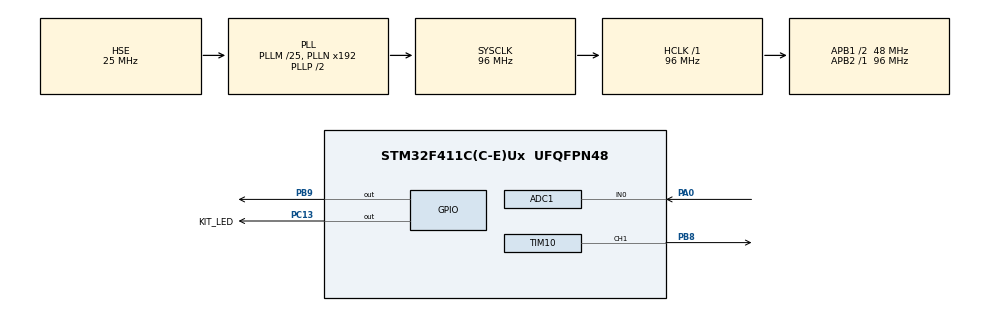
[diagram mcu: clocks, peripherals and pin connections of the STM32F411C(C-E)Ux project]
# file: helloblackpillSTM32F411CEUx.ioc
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ADC1.Channel-1\#ChannelRegularConversion=ADC_CHANNEL_0
ADC1.NbrOfConversionFlag=1
ADC1.Rank-1\#ChannelRegularConversion=1
ADC1.SamplingTime-1\#ChannelRegularConversion=ADC_SAMPLETIME_3CYCLES
ADC1.master=1
Mcu.Family=STM32F4
Mcu.Name=STM32F411C(C-E)Ux
Mcu.Package=UFQFPN48
NVIC.PriorityGroup=NVIC_PRIORITYGROUP_4
PA0-WKUP.Signal=ADCx_IN0
PA13.Mode=Serial_Wire
PA13.Signal=SYS_JTMS-SWDIO
PA14.Mode=Serial_Wire
PA14.Signal=SYS_JTCK-SWCLK
PB8.Signal=S_TIM10_CH1
PB9.Signal=GPIO_Output
PC13-ANTI_TAMP.GPIO_Label=KIT_LED
PC13-ANTI_TAMP.Signal=GPIO_Output
PC14-OSC32_IN.Mode=LSE-External-Oscillator
PC14-OSC32_IN.Signal=RCC_OSC32_IN
PC15-OSC32_OUT.Mode=LSE-External-Oscillator
PC15-OSC32_OUT.Signal=RCC_OSC32_OUT
PH0\ -\ OSC_IN.Mode=HSE-External-Oscillator
PH0\ -\ OSC_IN.Signal=RCC_OSC_IN
PH1\ -\ OSC_OUT.Mode=HSE-External-Oscillator
PH1\ -\ OSC_OUT.Signal=RCC_OSC_OUT
ProjectManager.HeapSize=0x200
ProjectManager.StackSize=0x400
ProjectManager.TargetToolchain=Makefile
RCC.48MHZClocksFreq_Value=48000000
RCC.AHBFreq_Value=96000000
RCC.APB1CLKDivider=RCC_HCLK_DIV2
RCC.APB1Freq_Value=48000000
RCC.APB1TimFreq_Value=96000000
RCC.APB2Freq_Value=96000000
RCC.APB2TimFreq_Value=96000000
RCC.CortexFreq_Value=96000000
RCC.HCLKFreq_Value=96000000
RCC.HSE_VALUE=25000000
RCC.HSI_VALUE=16000000
RCC.PLLM=25
RCC.PLLSourceVirtual=RCC_PLLSOURCE_HSE
RCC.SYSCLKFreq_VALUE=96000000
RCC.SYSCLKSource=RCC_SYSCLKSOURCE_PLLCLK
RCC.VCOOutputFreq_Value=192000000
SH.ADCx_IN0.0=ADC1_IN0,IN0
SH.S_TIM10_CH1.0=TIM10_CH1,PWM Generation1 CH1
TIM10.Channel=TIM_CHANNEL_1
TIM10.Period=4800-1
TIM3.Period=1000
TIM3.Prescaler=96-1
TIM3.TIM_MasterOutputTrigger=TIM_TRGO_UPDATE
TIM3.TIM_MasterSlaveMode=TIM_MASTERSLAVEMODE_DISABLE
VP_TIM10_VS_ClockSourceINT.Mode=Enable_Timer
VP_TIM3_VS_ClockSourceINT.Mode=Internal
board=custom

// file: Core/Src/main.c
/* USER CODE BEGIN Header */
/**
  ******************************************************************************
  * @file           : main.c
  * @brief          : Main program body
  ******************************************************************************
  * @attention
  *
  * Copyright (c) 2022 STMicroelectronics.
  * All rights reserved.
  *
  * This software is licensed under terms that can be found in the LICENSE file
  * in the root directory of this software component.
  * If no LICENSE file comes with this software, it is provided AS-IS.
  *
  ******************************************************************************
  */
/* USER CODE END Header */
#include "main.h"

ADC_HandleTypeDef hadc1;

TIM_HandleTypeDef htim3;
TIM_HandleTypeDef htim10;

/* USER CODE BEGIN PV */
volatile gi=0;
float gSetPoint = 2.0;
float gSaw[1000];
float gSin[1000];
float gStep[1000];
#define LABSC_ABS(x) x>0?x:-1*x

/* USER CODE END PV */

void SystemClock_Config(void);
static void MX_GPIO_Init(void);
static void MX_ADC1_Init(void);
static void MX_TIM10_Init(void);
static void MX_TIM3_Init(void);

int main(void)
{
  /* USER CODE BEGIN 1 */
  uint32_t i;
  /* USER CODE END 1 */

  /* MCU Configuration--------------------------------------------------------*/

  /* Reset of all peripherals, Initializes the Flash interface and the Systick. */
  HAL_Init();

  /* Configure the system clock */
  SystemClock_Config();

  /* Initialize all configured peripherals */
  MX_GPIO_Init();
  MX_ADC1_Init();
  MX_TIM10_Init();
  MX_TIM3_Init();
  /* USER CODE BEGIN 2 */
  HAL_ADC_Start_IT(&hadc1);
  HAL_TIM_Base_Start(&htim3);
  //HAL_TIM_PWM_Start(&htim3,TIM_CHANNEL_1);
  HAL_TIM_PWM_Start(&htim10,TIM_CHANNEL_1);
float pi = 3.141592653589793;
for(i=0;i<1000;i++)
{
  gSaw[i] = 3.3*((float)i/1000);
  gSin[i] = LABSC_ABS(3.3*(sin(2*pi*i/1000)));
  gStep[i] = ((i/100)%2)?4.0:1.0;
}

  /* USER CODE END 2 */

  /* Infinite loop */
  /* USER CODE BEGIN WHILE */
  htim10.Instance->CCR1 = (int32_t)(htim10.Instance->ARR * (0.2));
  while (1)
  {

    for (i = 0; i < 13; i++)
    {
      HAL_GPIO_WritePin(KIT_LED_GPIO_Port, KIT_LED_Pin, 0);
      HAL_Delay(25);
      HAL_GPIO_WritePin(KIT_LED_GPIO_Port, KIT_LED_Pin, 1);
      HAL_Delay(50);
    }
    HAL_Delay(800);

    /* USER CODE END WHILE */

  }
}

void SystemClock_Config(void)
{
  RCC_OscInitTypeDef RCC_OscInitStruct = {0};
  RCC_ClkInitTypeDef RCC_ClkInitStruct = {0};

  /** Configure the main internal regulator output voltage
  */
  __HAL_RCC_PWR_CLK_ENABLE();
  __HAL_PWR_VOLTAGESCALING_CONFIG(PWR_REGULATOR_VOLTAGE_SCALE1);

  /** Initializes the RCC Oscillators according to the specified parameters
  * in the RCC_OscInitTypeDef structure.
  */
  RCC_OscInitStruct.OscillatorType = RCC_OSCILLATORTYPE_HSE;
  RCC_OscInitStruct.HSEState = RCC_HSE_ON;
  RCC_OscInitStruct.PLL.PLLState = RCC_PLL_ON;
  RCC_OscInitStruct.PLL.PLLSource = RCC_PLLSOURCE_HSE;
  RCC_OscInitStruct.PLL.PLLM = 25;
  RCC_OscInitStruct.PLL.PLLN = 192;
  RCC_OscInitStruct.PLL.PLLP = RCC_PLLP_DIV2;
  RCC_OscInitStruct.PLL.PLLQ = 4;
  if (HAL_RCC_OscConfig(&RCC_OscInitStruct) != HAL_OK)
  {
    Error_Handler();
  }

  /** Initializes the CPU, AHB and APB buses clocks
  */
  RCC_ClkInitStruct.ClockType = RCC_CLOCKTYPE_HCLK|RCC_CLOCKTYPE_SYSCLK
                              |RCC_CLOCKTYPE_PCLK1|RCC_CLOCKTYPE_PCLK2;
  RCC_ClkInitStruct.SYSCLKSource = RCC_SYSCLKSOURCE_PLLCLK;
  RCC_ClkInitStruct.AHBCLKDivider = RCC_SYSCLK_DIV1;
  RCC_ClkInitStruct.APB1CLKDivider = RCC_HCLK_DIV2;
  RCC_ClkInitStruct.APB2CLKDivider = RCC_HCLK_DIV1;

  if (HAL_RCC_ClockConfig(&RCC_ClkInitStruct, FLASH_LATENCY_3) != HAL_OK)
  {
    Error_Handler();
  }
}

static void MX_ADC1_Init(void)
{

  ADC_ChannelConfTypeDef sConfig = {0};

  /** Configure the global features of the ADC (Clock, Resolution, Data Alignment and number of conversion)
  */
  hadc1.Instance = ADC1;
  hadc1.Init.ClockPrescaler = ADC_CLOCK_SYNC_PCLK_DIV4;
  hadc1.Init.Resolution = ADC_RESOLUTION_12B;
  hadc1.Init.ScanConvMode = DISABLE;
  hadc1.Init.ContinuousConvMode = DISABLE;
  hadc1.Init.DiscontinuousConvMode = DISABLE;
  hadc1.Init.ExternalTrigConvEdge = ADC_EXTERNALTRIGCONVEDGE_RISING;
  hadc1.Init.ExternalTrigConv = ADC_EXTERNALTRIGCONV_T3_TRGO;
  hadc1.Init.DataAlign = ADC_DATAALIGN_RIGHT;
  hadc1.Init.NbrOfConversion = 1;
  hadc1.Init.DMAContinuousRequests = DISABLE;
  hadc1.Init.EOCSelection = ADC_EOC_SINGLE_CONV;
  if (HAL_ADC_Init(&hadc1) != HAL_OK)
  {
    Error_Handler();
  }

  /** Configure for the selected ADC regular channel its corresponding rank in the sequencer and its sample time.
  */
  sConfig.Channel = ADC_CHANNEL_0;
  sConfig.Rank = 1;
  sConfig.SamplingTime = ADC_SAMPLETIME_3CYCLES;
  if (HAL_ADC_ConfigChannel(&hadc1, &sConfig) != HAL_OK)
  {
    Error_Handler();
  }

}

static void MX_TIM3_Init(void)
{

  TIM_ClockConfigTypeDef sClockSourceConfig = {0};
  TIM_MasterConfigTypeDef sMasterConfig = {0};

  htim3.Instance = TIM3;
  htim3.Init.Prescaler = 96-1;
  htim3.Init.CounterMode = TIM_COUNTERMODE_UP;
  htim3.Init.Period = 100;
  htim3.Init.ClockDivision = TIM_CLOCKDIVISION_DIV1;
  htim3.Init.AutoReloadPreload = TIM_AUTORELOAD_PRELOAD_DISABLE;
  if (HAL_TIM_Base_Init(&htim3) != HAL_OK)
  {
    Error_Handler();
  }
  sClockSourceConfig.ClockSource = TIM_CLOCKSOURCE_INTERNAL;
  if (HAL_TIM_ConfigClockSource(&htim3, &sClockSourceConfig) != HAL_OK)
  {
    Error_Handler();
  }
  sMasterConfig.MasterOutputTrigger = TIM_TRGO_UPDATE;
  sMasterConfig.MasterSlaveMode = TIM_MASTERSLAVEMODE_DISABLE;
  if (HAL_TIMEx_MasterConfigSynchronization(&htim3, &sMasterConfig) != HAL_OK)
  {
    Error_Handler();
  }

}

static void MX_TIM10_Init(void)
{

  TIM_OC_InitTypeDef sConfigOC = {0};

  htim10.Instance = TIM10;
  htim10.Init.Prescaler = 0;
  htim10.Init.CounterMode = TIM_COUNTERMODE_UP;
  htim10.Init.Period = 4800-1;
  htim10.Init.ClockDivision = TIM_CLOCKDIVISION_DIV1;
  htim10.Init.AutoReloadPreload = TIM_AUTORELOAD_PRELOAD_DISABLE;
  if (HAL_TIM_Base_Init(&htim10) != HAL_OK)
  {
    Error_Handler();
  }
  if (HAL_TIM_PWM_Init(&htim10) != HAL_OK)
  {
    Error_Handler();
  }
  sConfigOC.OCMode = TIM_OCMODE_PWM1;
  sConfigOC.Pulse = 0;
  sConfigOC.OCPolarity = TIM_OCPOLARITY_HIGH;
  sConfigOC.OCFastMode = TIM_OCFAST_DISABLE;
  if (HAL_TIM_PWM_ConfigChannel(&htim10, &sConfigOC, TIM_CHANNEL_1) != HAL_OK)
  {
    Error_Handler();
  }
  HAL_TIM_MspPostInit(&htim10);

}

static void MX_GPIO_Init(void)
{
  GPIO_InitTypeDef GPIO_InitStruct = {0};

  /* GPIO Ports Clock Enable */
  __HAL_RCC_GPIOC_CLK_ENABLE();
  __HAL_RCC_GPIOH_CLK_ENABLE();
  __HAL_RCC_GPIOA_CLK_ENABLE();
  __HAL_RCC_GPIOB_CLK_ENABLE();

  /*Configure GPIO pin Output Level */
  HAL_GPIO_WritePin(KIT_LED_GPIO_Port, KIT_LED_Pin, GPIO_PIN_RESET);

  /*Configure GPIO pin Output Level */
  HAL_GPIO_WritePin(GPIOB, GPIO_PIN_9, GPIO_PIN_RESET);

  /*Configure GPIO pin : KIT_LED_Pin */
  GPIO_InitStruct.Pin = KIT_LED_Pin;
  GPIO_InitStruct.Mode = GPIO_MODE_OUTPUT_PP;
  GPIO_InitStruct.Pull = GPIO_NOPULL;
  GPIO_InitStruct.Speed = GPIO_SPEED_FREQ_LOW;
  HAL_GPIO_Init(KIT_LED_GPIO_Port, &GPIO_InitStruct);

  /*Configure GPIO pin : PB9 */
  GPIO_InitStruct.Pin = GPIO_PIN_9;
  GPIO_InitStruct.Mode = GPIO_MODE_OUTPUT_PP;
  GPIO_InitStruct.Pull = GPIO_NOPULL;
  GPIO_InitStruct.Speed = GPIO_SPEED_FREQ_LOW;
  HAL_GPIO_Init(GPIOB, &GPIO_InitStruct);

}

/* USER CODE BEGIN 4 */

volatile float gSum=0,gCnt=0;
uint32_t gPtr=0;

float Kp=0.6,Ki=1,Kd=0, N = 1;

float gSP_Old=0;

void HAL_ADC_ConvCpltCallback(ADC_HandleTypeDef *hadc)
{
  float output;

  float yki, ykd, ykp, yk, ek;
  float Ts = 1e-3;
  float out_avg;
  static float yki_1 = 0, ykd_1 = 0, ek_1 = 0;

  if (hadc == &hadc1)
  {
    output = 2 * 3.3 * ((float)HAL_ADC_GetValue(&hadc1) / 4095.0);
    if (gSum > 9)
    {
      gSetPoint = gSaw[gPtr%1000];

      if(gSetPoint != gSP_Old)
      {
        gPtr++;
        gPtr--;
      }
      gPtr++;
      out_avg = gSum / gCnt;

      ek = gSetPoint - out_avg;

      ykp = Kp * ek;

      yki = (((Ki * Ts) / 2) * (ek + ek_1)) + yki_1;

      ykd = Kd * N * (ek - ek_1) + (1 - N * Ts) * ykd_1;

      yk = ykp + yki + ykd;

      yki_1 = yki;
      ykd_1 = ykd;
      ek_1 = ek;

      if (yk < 0)
      {
        yk = 0.001;
      }

      if (yk > 1.0)
      {
        yk = 0.999;
      }

      htim10.Instance->CCR1 = (int32_t)(htim10.Instance->ARR * (1.0 - yk));

      HAL_GPIO_TogglePin(GPIOB, GPIO_PIN_9);
      gCnt = 0;
      gSum = 0;
      gSP_Old = gSetPoint;
    }
    else
    {
      gSum += output;
      gCnt++;
    }
  }
}

/* USER CODE END 4 */

void Error_Handler(void)
{
  __disable_irq();
  while (1)
  {
  }
}
